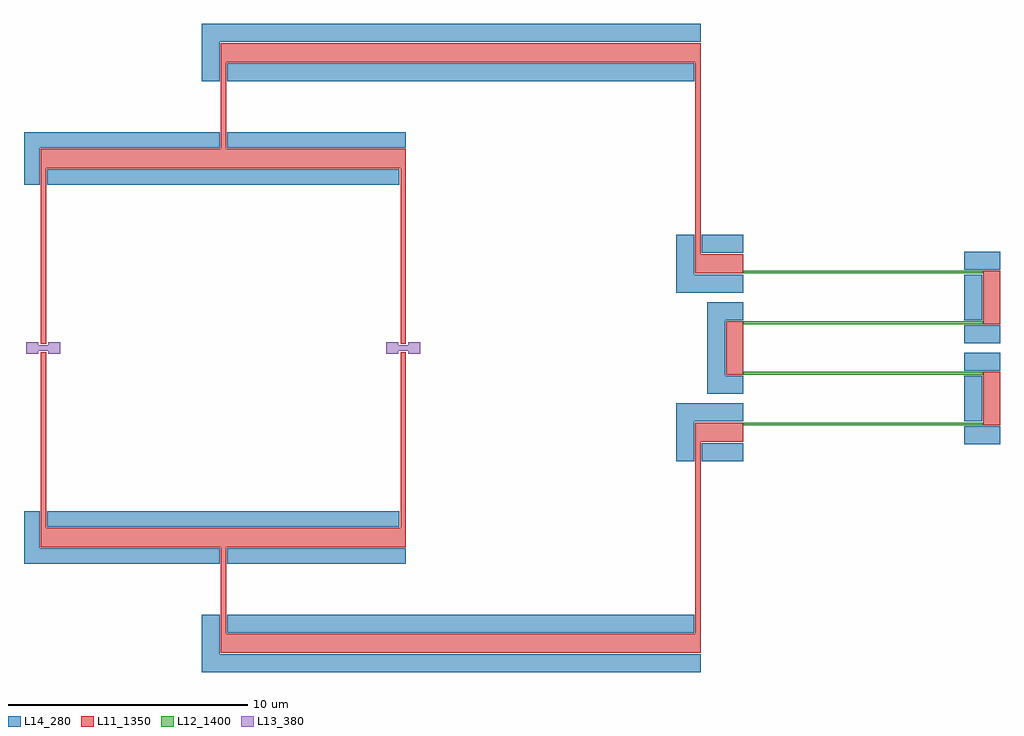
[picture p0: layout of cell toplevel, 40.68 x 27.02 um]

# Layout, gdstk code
import gdstk
lib = gdstk.Library(unit=1e-6, precision=1e-09)
def R(c, l, rs):  # rectangles x0, y0, x1, y1
    for r in rs: c.add(gdstk.rectangle(r[:2], r[2:], *l))
def P(c, l, *ps):  # polygons
    for p in ps: c.add(gdstk.Polygon(p, *l))
L11_1350 = (11, 1350)
L12_1400 = (12, 1400)
L13_380 = (13, 380)
L14_280 = (14, 280)

boolean023 = lib.new_cell('boolean023')
R(boolean023, L11_1350, [(-0.11,-7.5,0.11,-0.175), (-0.11,0.175,0.11,7.5)])

junction = lib.new_cell('Junction')
junction.add(gdstk.Reference(boolean023, (0,0)))

boolean024 = lib.new_cell('boolean024')
P(boolean024, L13_380, [(-0.71,0.25),(-0.71,-0.25),(-0.21,-0.25),(-0.21,-0.11),(0.21,-0.11),(0.21,-0.25),(0.71,-0.25),(0.71,0.25),(0.21,0.25),(0.21,0.11),(-0.21,0.11),(-0.21,0.25)])

josephson_junction = lib.new_cell('Josephson Junction')
josephson_junction.add(gdstk.Reference(junction, (0,0)))
josephson_junction.add(gdstk.Reference(boolean024, (0,0)))

boolean027 = lib.new_cell('boolean027')
R(boolean027, L11_1350, [(-0.11,-7.5,0.11,-0.175), (-0.11,0.175,0.11,7.5)])

junction026 = lib.new_cell('Junction026')
junction026.add(gdstk.Reference(boolean027, (0,0)))

boolean028 = lib.new_cell('boolean028')
P(boolean028, L13_380, [(-0.71,0.25),(-0.71,-0.25),(-0.21,-0.25),(-0.21,-0.11),(0.21,-0.11),(0.21,-0.25),(0.71,-0.25),(0.71,0.25),(0.21,0.25),(0.21,0.11),(-0.21,0.11),(-0.21,0.25)])

josephson_junction025 = lib.new_cell('Josephson Junction025')
josephson_junction025.add(gdstk.Reference(junction026, (0,0)))
josephson_junction025.add(gdstk.Reference(boolean028, (0,0)))

rectangle029 = lib.new_cell('rectangle029')
R(rectangle029, L11_1350, [(0,0,15.22,0.8)])

island = lib.new_cell('Island')
island.add(gdstk.Reference(rectangle029, (0,0)))

top_island = lib.new_cell('Top island')
top_island.add(gdstk.Reference(island, (-0.11,7.5)))

rectangle031 = lib.new_cell('rectangle031')
R(rectangle031, L11_1350, [(0,0,15.22,0.8)])

island030 = lib.new_cell('Island030')
island030.add(gdstk.Reference(rectangle031, (0,0)))

bot_island = lib.new_cell('Bot island')
bot_island.add(gdstk.Reference(island030, (-0.11,-8.3)))

rectangle034 = lib.new_cell('rectangle034')
R(rectangle034, L11_1350, [(0,-3.61,0.22,0)])

connector033 = lib.new_cell('Connector033')
connector033.add(gdstk.Reference(rectangle034, (0,0)))

top_connector032 = lib.new_cell('Top connector032')
top_connector032.add(gdstk.Reference(connector033, (7.39,11.91)))

rectangle037 = lib.new_cell('rectangle037')
R(rectangle037, L11_1350, [(0,-3.61,0.22,0)])

connector036 = lib.new_cell('Connector036')
connector036.add(gdstk.Reference(rectangle037, (0,0)))

bot_connector035 = lib.new_cell('Bot connector035')
bot_connector035.add(gdstk.Reference(connector036, (7.39,-11.91), x_reflection=True))

boolean040 = lib.new_cell('boolean040')
R(boolean040, L14_280, [(7.66,-9,15.11,-8.35), (0.16,-7.45,14.84,-6.8), (0.16,6.8,14.84,7.45), (7.66,8.35,15.11,9)])
P(boolean040, L14_280, [(-0.16,8.35),(7.34,8.35),(7.34,9),(-0.81,9),(-0.81,6.8),(-0.16,6.8)],
  [(-0.81,-6.8),(-0.81,-9),(7.34,-9),(7.34,-8.35),(-0.16,-8.35),(-0.16,-6.8)])

liftoff_undercut039 = lib.new_cell('Liftoff undercut039')
liftoff_undercut039.add(gdstk.Reference(boolean040, (0,0)))

liftoff_undercut038 = lib.new_cell('Liftoff undercut038')
liftoff_undercut038.add(gdstk.Reference(liftoff_undercut039, (0,0)))

squid = lib.new_cell('Squid')
squid.add(gdstk.Reference(josephson_junction, (-7.5,0)))
squid.add(gdstk.Reference(josephson_junction025, (7.5,0)))
squid.add(gdstk.Reference(top_island, (-7.5,0)))
squid.add(gdstk.Reference(bot_island, (-7.5,0)))
squid.add(gdstk.Reference(top_connector032, (-7.5,0)))
squid.add(gdstk.Reference(bot_connector035, (-7.5,0)))
squid.add(gdstk.Reference(liftoff_undercut038, (-7.5,0)))

rectangle044 = lib.new_cell('rectangle044')
R(rectangle044, L11_1350, [(-0.22,-8,0,0)])

rectangle043 = lib.new_cell('rectangle043')
R(rectangle043, L11_1350, [(-20,0,0,0.8)])

connector042 = lib.new_cell('Connector042')
connector042.add(gdstk.Reference(rectangle043, (0,0)))

boolean045 = lib.new_cell('boolean045')

boolean046 = lib.new_cell('boolean046')
R(boolean046, L14_280, [(0.16,11.11,19.62,11.86)])
P(boolean046, L14_280, [(19.89,12.76),(19.89,13.51),(-0.91,13.51),(-0.91,11.11),(-0.16,11.11),(-0.16,12.76)])

connector041 = lib.new_cell('Connector041')
connector041.add(gdstk.Reference(rectangle044, (19.89,11.91)))
connector041.add(gdstk.Reference(connector042, (19.89,11.91)))
connector041.add(gdstk.Reference(boolean045, (19.89,11.91)))
connector041.add(gdstk.Reference(boolean046, (0,0)))

rectangle008 = lib.new_cell('rectangle008')
R(rectangle008, L11_1350, [(0,0,0.7,2.22)])

arm_connector = lib.new_cell('Arm connector')
arm_connector.add(gdstk.Reference(rectangle008, (-0.7,-4.22)))

rectangle010 = lib.new_cell('rectangle010')
R(rectangle010, L11_1350, [(0,0,0.7,2.22)])

arm_connector009 = lib.new_cell('Arm connector009')
arm_connector009.add(gdstk.Reference(rectangle010, (10,-2.11)))

rectangle013 = lib.new_cell('rectangle013')
R(rectangle013, L11_1350, [(0,0,0.7,2.22)])

arm_connector012 = lib.new_cell('Arm connector012')
arm_connector012.add(gdstk.Reference(rectangle013, (10,-6.33)))

arms = lib.new_cell('Arms')
arms.add(gdstk.Reference(arm_connector, (0,0)))
arms.add(gdstk.Reference(arm_connector009, (0,0)))
arms.add(gdstk.Reference(arm_connector012, (0,0)))

rectangle = lib.new_cell('rectangle')
R(rectangle, L12_1400, [(0,0,10,0.11)])

resistive_segment = lib.new_cell('Resistive segment')
resistive_segment.add(gdstk.Reference(rectangle, (0,0)))

rectangle003 = lib.new_cell('rectangle003')
R(rectangle003, L12_1400, [(0,0,10,0.11)])

resistive_segment002 = lib.new_cell('Resistive segment002')
resistive_segment002.add(gdstk.Reference(rectangle003, (0,-2.11)))

rectangle005 = lib.new_cell('rectangle005')
R(rectangle005, L12_1400, [(0,0,10,0.11)])

resistive_segment004 = lib.new_cell('Resistive segment004')
resistive_segment004.add(gdstk.Reference(rectangle005, (0,-4.22)))

rectangle007 = lib.new_cell('rectangle007')
R(rectangle007, L12_1400, [(0,0,10,0.11)])

resistive_segment006 = lib.new_cell('Resistive segment006')
resistive_segment006.add(gdstk.Reference(rectangle007, (0,-6.33)))

resistive_segments = lib.new_cell('Resistive segments')
resistive_segments.add(gdstk.Reference(resistive_segment, (0,0)))
resistive_segments.add(gdstk.Reference(resistive_segment002, (0,0)))
resistive_segments.add(gdstk.Reference(resistive_segment004, (0,0)))
resistive_segments.add(gdstk.Reference(resistive_segment006, (0,0)))

boolean = lib.new_cell('boolean')

undercut = lib.new_cell('Undercut')
undercut.add(gdstk.Reference(boolean, (-0.7,-4.22)))

boolean011 = lib.new_cell('boolean011')

boolean014 = lib.new_cell('boolean014')

boolean018 = lib.new_cell('boolean018')

undercut017 = lib.new_cell('Undercut017')
undercut017.add(gdstk.Reference(boolean018, (0,0)))

boolean022 = lib.new_cell('boolean022')

undercut021 = lib.new_cell('Undercut021')
undercut021.add(gdstk.Reference(boolean022, (0,-7.02)))

undercut015 = lib.new_cell('Undercut015')
undercut015.add(gdstk.Reference(undercut017, (0,0)))
undercut015.add(gdstk.Reference(undercut021, (0,0)))

liftoff_undercut = lib.new_cell('Liftoff undercut')
liftoff_undercut.add(gdstk.Reference(undercut, (0,0)))
liftoff_undercut.add(gdstk.Reference(boolean011, (0,0)))
liftoff_undercut.add(gdstk.Reference(boolean014, (0,0)))
liftoff_undercut.add(gdstk.Reference(undercut015, (0,0)))

rectangle016 = lib.new_cell('rectangle016')
R(rectangle016, L11_1350, [(-2,0,0,0.8)])

connector = lib.new_cell('Connector')
connector.add(gdstk.Reference(rectangle016, (0,0)))

top_connector = lib.new_cell('Top connector')
top_connector.add(gdstk.Reference(connector, (0,0)))

rectangle020 = lib.new_cell('rectangle020')
R(rectangle020, L11_1350, [(-2,0,0,0.8)])

connector019 = lib.new_cell('Connector019')
connector019.add(gdstk.Reference(rectangle020, (0,-7.02)))

bot_connector = lib.new_cell('Bot connector')
bot_connector.add(gdstk.Reference(connector019, (0,0)))

boolean047 = lib.new_cell('boolean047')
R(boolean047, L14_280, [(19.94,-4.71,21.67,-3.96), (30.87,-4.02,32.37,-3.27), (30.87,-3.06,31.62,-1.16), (30.87,-0.95,32.37,-0.2), (30.87,0.2,32.37,0.95), (30.87,1.16,31.62,3.06), (30.87,3.27,32.37,4.02), (19.94,3.96,21.67,4.71)])
P(boolean047, L14_280, [(18.87,4.71),(18.87,2.31),(21.67,2.31),(21.67,3.06),(19.62,3.06),(19.62,4.71)],
  [(21.67,-1.16),(20.92,-1.16),(20.92,1.16),(21.67,1.16),(21.67,1.91),(20.17,1.91),(20.17,-1.91),(21.67,-1.91)],
  [(21.67,-3.06),(21.67,-2.31),(18.87,-2.31),(18.87,-4.71),(19.62,-4.71),(19.62,-3.06)])

resistor = lib.new_cell('Resistor')
resistor.add(gdstk.Reference(arms, (21.67,3.11)))
resistor.add(gdstk.Reference(resistive_segments, (21.67,3.11)))
resistor.add(gdstk.Reference(liftoff_undercut, (21.67,3.11)))
resistor.add(gdstk.Reference(top_connector, (21.67,3.11)))
resistor.add(gdstk.Reference(bot_connector, (21.67,3.11)))
resistor.add(gdstk.Reference(boolean047, (0,0)))

toplevel = lib.new_cell('toplevel')
toplevel.add(gdstk.Reference(squid, (0,0)))
toplevel.add(gdstk.Reference(connector041, (0,0)))
toplevel.add(gdstk.Reference(connector041, (0,0), x_reflection=True))
toplevel.add(gdstk.Reference(resistor, (0,0)))

lib.write_gds('toplevel.gds')
